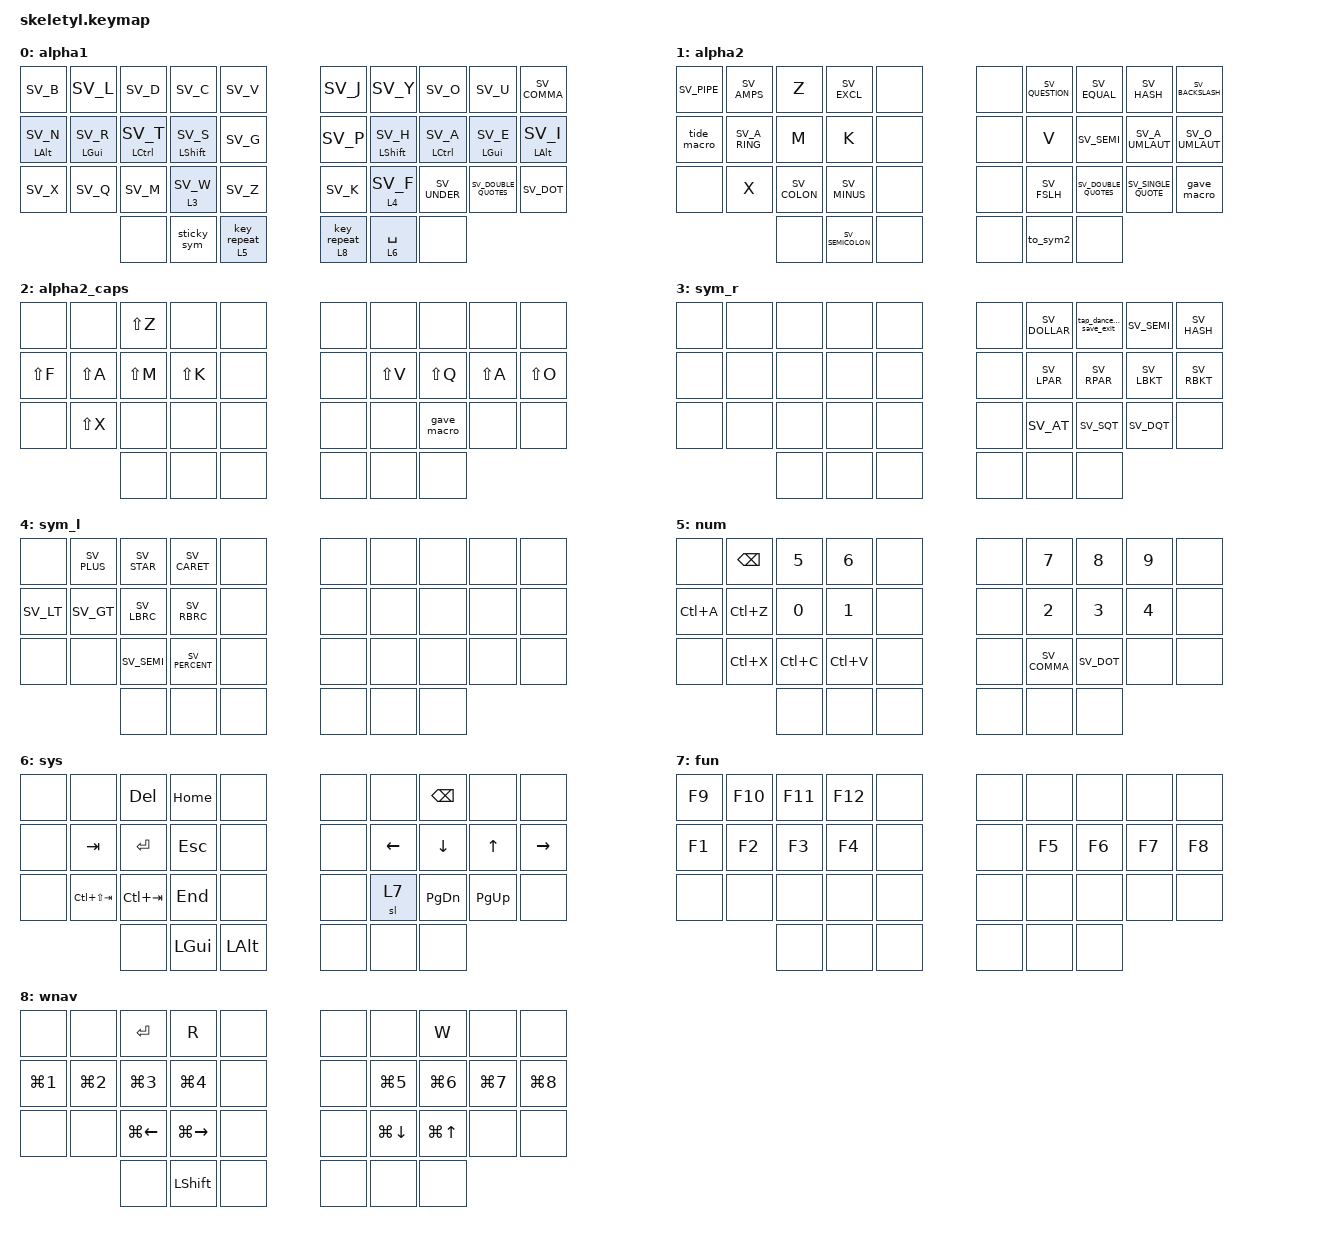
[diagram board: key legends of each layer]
#include "keys_sv.h"
#include <behaviors.dtsi>
#include <dt-bindings/zmk/keys.h>

#define DEFAULT 0
#define NUM 1
#define SYM 2
#define FUN 3
#define NAV 4
#define MSE 5
#define MED 6

&caps_word { continue-list = <UNDERSCORE MINUS BACKSPACE DELETE>; };

/ {
    chosen { zmk,matrix_transform = &skeletyl_transform; };

    behaviors {
        hm: homerow_mods {
            compatible = "zmk,behavior-hold-tap";
            label = "HOMEROW_MODS";
            #binding-cells = <2>;
            tapping-term-ms = <200>;
            quick_tap_ms = <150>;
            flavor = "balanced";
            bindings = <&kp>, <&kp>;
        };

        tap_dance_capsword: tap_dance_capsword {
            compatible = "zmk,behavior-tap-dance";
            label = "TAP_DANCE_CAPSWORD";
            #binding-cells = <0>;
            bindings = <&kp SV_COMMA>, <&caps_word>;
        };

        tap_dance_vim_save_exit: tap_dance_vim_save_exit {
            compatible = "zmk,behavior-tap-dance";
            label = "TAP_DANCE_VIM_SAVE_EXIT";
            #binding-cells = <0>;
            bindings = <&vim_quit>, <&vim_save>, <&vim_save_exit>;
        };

        ltr: ltr {
            compatible = "zmk,behavior-hold-tap";
            label = "LTR";
            bindings = <&mo>, <&key_repeat>;

            #binding-cells = <2>;
            tapping-term-ms = <300>;
        };

        htm: htm {
            compatible = "zmk,behavior-hold-tap";
            label = "HTM";
            bindings = <&mo>, <&kp>;

            #binding-cells = <2>;
            tapping-term-ms = <200>;
        };
    };

    macros {
        vim_save_exit: vim_save_exit {
            compatible = "zmk,behavior-macro";
            #binding-cells = <0>;
            bindings = <&kp ESCAPE &kp SV_COLON &kp W &kp Q &kp ENTER>;
            label = "VIM_SAVE_EXIT";
            wait-ms = <10>;
            tap-ms = <10>;
        };

        tide_macro: tide_macro {
            compatible = "zmk,behavior-macro";
            #binding-cells = <0>;
            bindings = <&kp SV_TILDE &kp SPACE>;
            label = "TIDE_MACRO";
        };

        to_sym1: to_sym1 {
            compatible = "zmk,behavior-macro";
            #binding-cells = <0>;
            bindings = <&sl 1>;
            label = "TO_SYM1";
        };

        to_sym2: to_sym2 {
            compatible = "zmk,behavior-macro";
            #binding-cells = <0>;
            bindings = <&sl 2>;
            label = "TO_SYM2";
        };

        vim_save: vim_save {
            compatible = "zmk,behavior-macro";
            #binding-cells = <0>;
            bindings = <&kp ESCAPE &kp SV_COLON &kp W &kp ENTER>;
            label = "VIM_SAVE";
            wait-ms = <10>;
            tap-ms = <10>;
        };

        gave_macro: gave_macro {
            compatible = "zmk,behavior-macro";
            #binding-cells = <0>;
            bindings = <&kp SV_GRAVE &kp SPACE>;
            label = "GAVE_MACRO";
        };

        vim_quit: vim_quit {
            compatible = "zmk,behavior-macro";
            #binding-cells = <0>;
            bindings = <&kp ESCAPE &kp SV_COLON &kp Q &kp ENTER>;
            label = "VIM_QUIT";
            wait-ms = <10>;
            tap-ms = <10>;
        };

        sticky_sym: sticky {
            compatible = "zmk,behavior-macro";
            #binding-cells = <0>;
            bindings = <&sl 1>;
            label = "STICKY";
        };
    };

    keymap {
        compatible = "zmk,keymap";

        alpha1 {
            bindings = <
&kp SV_B       &kp SV_L       &kp SV_D        &kp SV_C         &kp SV_V    &kp SV_J  &kp SV_Y         &kp SV_O        &kp SV_U              &kp SV_COMMA
&hm LALT SV_N  &hm LGUI SV_R  &hm LCTRL SV_T  &hm LSHIFT SV_S  &kp SV_G    &kp SV_P  &hm LSHIFT SV_H  &hm LCTRL SV_A  &hm LGUI SV_E         &hm LALT SV_I
&kp SV_X       &kp SV_Q       &kp SV_M        &lt 3 SV_W       &kp SV_Z    &kp SV_K  &lt 4 SV_F       &kp SV_UNDER    &kp SV_DOUBLE_QUOTES  &kp SV_DOT
                              &none           &sticky_sym      &ltr 5 0    &ltr 8 0  &htm 6 SPACE     &none
            >;
        };

        alpha2 {
            bindings = <
&kp SV_PIPE  &kp SV_AMPS    &kp Z         &kp SV_EXCL       &none    &none  &kp SV_QUESTION  &kp SV_EQUAL          &kp SV_HASH          &kp SV_BACKSLASH
&tide_macro  &kp SV_A_RING  &kp M         &kp K             &none    &none  &kp V            &kp SV_SEMI           &kp SV_A_UMLAUT      &kp SV_O_UMLAUT
&none        &kp X          &kp SV_COLON  &kp SV_MINUS      &none    &none  &kp SV_FSLH      &kp SV_DOUBLE_QUOTES  &kp SV_SINGLE_QUOTE  &gave_macro
                            &none         &kp SV_SEMICOLON  &none    &none  &to_sym2         &none
            >;
        };

        alpha2_caps {
            bindings = <
&none      &none      &kp LS(Z)  &none      &none    &none  &none      &none        &none      &none
&kp LS(F)  &kp LS(A)  &kp LS(M)  &kp LS(K)  &none    &none  &kp LS(V)  &kp LS(Q)    &kp LS(A)  &kp LS(O)
&none      &kp LS(X)  &none      &none      &none    &none  &none      &gave_macro  &none      &none
                      &none      &none      &none    &none  &none      &none
            >;
        };

        sym_r {
            bindings = <
&none  &none  &none  &none  &none    &none  &kp SV_DOLLAR  &tap_dance_vim_save_exit  &kp SV_SEMI  &kp SV_HASH
&none  &none  &none  &none  &none    &none  &kp SV_LPAR    &kp SV_RPAR               &kp SV_LBKT  &kp SV_RBKT
&none  &none  &none  &none  &none    &none  &kp SV_AT      &kp SV_SQT                &kp SV_DQT   &none
              &none  &none  &none    &none  &none          &none
            >;
        };

        sym_l {
            bindings = <
&none      &kp SV_PLUS  &kp SV_STAR  &kp SV_CARET    &none    &none  &none  &none  &none  &none
&kp SV_LT  &kp SV_GT    &kp SV_LBRC  &kp SV_RBRC     &none    &none  &none  &none  &none  &none
&none      &none        &kp SV_SEMI  &kp SV_PERCENT  &none    &none  &none  &none  &none  &none
                        &none        &none           &none    &none  &none  &none
            >;
        };

        num {
            bindings = <
&none      &kp BACKSPACE  &kp N5     &kp N6     &none    &none  &kp N7        &kp N8      &kp N9  &none
&kp LC(A)  &kp LC(Z)      &kp N0     &kp N1     &none    &none  &kp N2        &kp N3      &kp N4  &none
&none      &kp LC(X)      &kp LC(C)  &kp LC(V)  &none    &none  &kp SV_COMMA  &kp SV_DOT  &none   &none
                          &none      &none      &none    &none  &none         &none
            >;
        };

        sys {
            bindings = <
&none  &none            &kp DEL      &kp HOME  &none       &none  &none     &kp BACKSPACE  &none      &none
&none  &kp TAB          &kp ENTER    &kp ESC   &none       &none  &kp LEFT  &kp DOWN       &kp UP     &kp RIGHT
&none  &kp LC(LS(TAB))  &kp LC(TAB)  &kp END   &none       &none  &sl 7     &kp PG_DN      &kp PG_UP  &none
                        &none        &kp LGUI  &kp LALT    &none  &none     &none
            >;
        };

        fun {
            bindings = <
&kp F9  &kp F10  &kp F11  &kp F12  &none    &none  &none   &none   &none   &none
&kp F1  &kp F2   &kp F3   &kp F4   &none    &none  &kp F5  &kp F6  &kp F7  &kp F8
&none   &none    &none    &none    &none    &none  &none   &none   &none   &none
                 &none    &none    &none    &none  &none   &none
            >;
        };

        wnav {
            bindings = <
&none       &none       &kp ENTER     &kp R          &none    &none  &none         &kp W       &none       &none
&kp LG(N1)  &kp LG(N2)  &kp LG(N3)    &kp LG(N4)     &none    &none  &kp LG(N5)    &kp LG(N6)  &kp LG(N7)  &kp LG(N8)
&none       &none       &kp LG(LEFT)  &kp LG(RIGHT)  &none    &none  &kp LG(DOWN)  &kp LG(UP)  &none       &none
                        &none         &kp LSHFT      &none    &none  &none         &none
            >;
        };
    };
};
